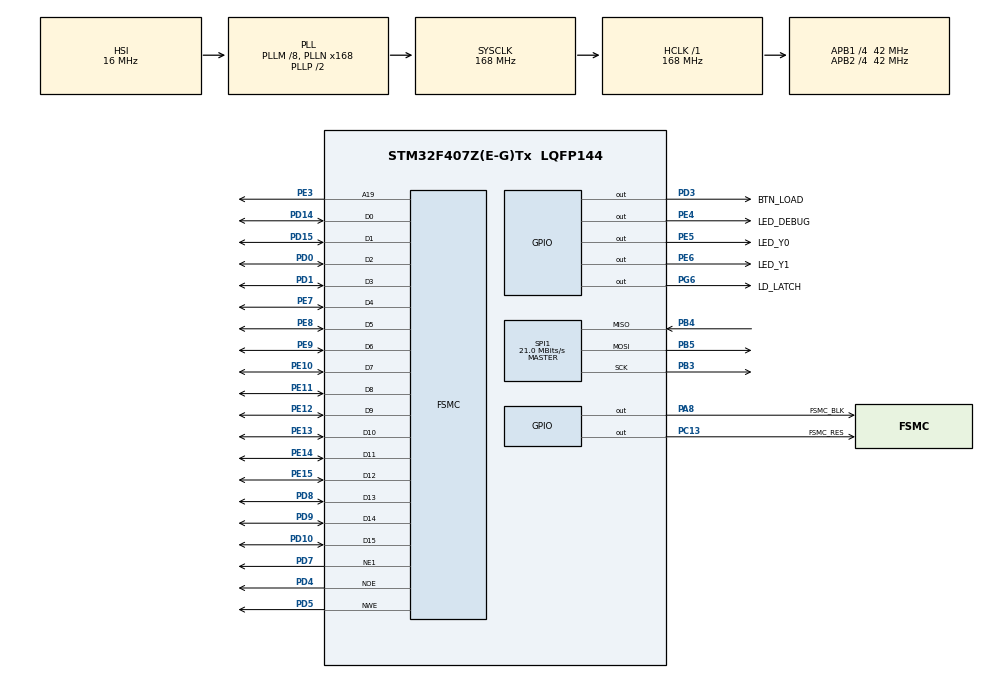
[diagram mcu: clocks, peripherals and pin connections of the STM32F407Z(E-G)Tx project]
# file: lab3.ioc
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FSMC.AddressSetupTime1=0xf
FSMC.BusTurnAroundDuration1=0
FSMC.DataSetupTime1=60
FSMC.ExtendedAddressSetupTime1=8
FSMC.ExtendedBusTurnAroundDuration1=0
FSMC.ExtendedDataSetupTime1=9
FSMC.ExtendedMode1=FSMC_EXTENDED_MODE_ENABLE
Mcu.Family=STM32F4
Mcu.Name=STM32F407Z(E-G)Tx
Mcu.Package=LQFP144
NVIC.PriorityGroup=NVIC_PRIORITYGROUP_4
NVIC.TIM2_IRQn=true\:0\:0\:false\:false\:true\:true\:true\:true
PA13.Mode=Serial_Wire
PA13.Signal=SYS_JTMS-SWDIO
PA14.Mode=Serial_Wire
PA14.Signal=SYS_JTCK-SWCLK
PA8.GPIO_Label=FSMC_BLK
PA8.Signal=GPIO_Output
PB3.Mode=Full_Duplex_Master
PB3.Signal=SPI1_SCK
PB4.Mode=Full_Duplex_Master
PB4.Signal=SPI1_MISO
PB5.Mode=Full_Duplex_Master
PB5.Signal=SPI1_MOSI
PC13-ANTI_TAMP.GPIO_Label=FSMC_RES
PC13-ANTI_TAMP.Signal=GPIO_Output
PD0.Signal=FSMC_D2_DA2
PD1.Signal=FSMC_D3_DA3
PD10.Signal=FSMC_D15_DA15
PD14.Signal=FSMC_D0_DA0
PD15.Signal=FSMC_D1_DA1
PD3.GPIO_Label=BTN_LOAD
PD3.Signal=GPIO_Output
PD4.Signal=FSMC_NOE
PD5.Signal=FSMC_NWE
PD7.Mode=NorPsramChipSelect1_1
PD7.Signal=FSMC_NE1
PD8.Signal=FSMC_D13_DA13
PD9.Signal=FSMC_D14_DA14
PE10.Signal=FSMC_D7_DA7
PE11.Signal=FSMC_D8_DA8
PE12.Signal=FSMC_D9_DA9
PE13.Signal=FSMC_D10_DA10
PE14.Signal=FSMC_D11_DA11
PE15.Signal=FSMC_D12_DA12
PE3.Signal=FSMC_A19
PE4.GPIO_Label=LED_DEBUG
PE4.Signal=GPIO_Output
PE5.GPIO_Label=LED_Y0
PE5.Signal=GPIO_Output
PE6.GPIO_Label=LED_Y1
PE6.Signal=GPIO_Output
PE7.Signal=FSMC_D4_DA4
PE8.Signal=FSMC_D5_DA5
PE9.Signal=FSMC_D6_DA6
PG6.GPIO_Label=LD_LATCH
PG6.Signal=GPIO_Output
PH0-OSC_IN.Mode=HSE-External-Oscillator
PH0-OSC_IN.Signal=RCC_OSC_IN
PH1-OSC_OUT.Mode=HSE-External-Oscillator
PH1-OSC_OUT.Signal=RCC_OSC_OUT
ProjectManager.HeapSize=0x200
ProjectManager.StackSize=0x400
ProjectManager.TargetToolchain=STM32CubeIDE
RCC.48MHZClocksFreq_Value=84000000
RCC.AHBFreq_Value=168000000
RCC.APB1CLKDivider=RCC_HCLK_DIV4
RCC.APB1Freq_Value=42000000
RCC.APB1TimFreq_Value=84000000
RCC.APB2CLKDivider=RCC_HCLK_DIV4
RCC.APB2Freq_Value=42000000
RCC.APB2TimFreq_Value=84000000
RCC.CortexFreq_Value=168000000
RCC.HCLKFreq_Value=168000000
RCC.HSE_VALUE=25000000
RCC.HSI_VALUE=16000000
RCC.LSE_VALUE=32768
RCC.PLLM=8
RCC.PLLN=168
RCC.SYSCLKFreq_VALUE=168000000
RCC.SYSCLKSource=RCC_SYSCLKSOURCE_PLLCLK
RCC.VCOOutputFreq_Value=336000000
SH.FSMC_A19.0=FSMC_A19,A19_1
SH.FSMC_D0_DA0.0=FSMC_D0,16b-d1
SH.FSMC_D10_DA10.0=FSMC_D10,16b-d1
SH.FSMC_D11_DA11.0=FSMC_D11,16b-d1
SH.FSMC_D12_DA12.0=FSMC_D12,16b-d1
SH.FSMC_D13_DA13.0=FSMC_D13,16b-d1
SH.FSMC_D14_DA14.0=FSMC_D14,16b-d1
SH.FSMC_D15_DA15.0=FSMC_D15,16b-d1
SH.FSMC_D1_DA1.0=FSMC_D1,16b-d1
SH.FSMC_D2_DA2.0=FSMC_D2,16b-d1
SH.FSMC_D3_DA3.0=FSMC_D3,16b-d1
SH.FSMC_D4_DA4.0=FSMC_D4,16b-d1
SH.FSMC_D5_DA5.0=FSMC_D5,16b-d1
SH.FSMC_D6_DA6.0=FSMC_D6,16b-d1
SH.FSMC_D7_DA7.0=FSMC_D7,16b-d1
SH.FSMC_D8_DA8.0=FSMC_D8,16b-d1
SH.FSMC_D9_DA9.0=FSMC_D9,16b-d1
SH.FSMC_NOE.0=FSMC_NOE,Lcd1
SH.FSMC_NWE.0=FSMC_NWE,Lcd1
SPI1.CalculateBaudRate=21.0 MBits/s
SPI1.Direction=SPI_DIRECTION_2LINES
SPI1.Mode=SPI_MODE_MASTER
SPI1.VirtualType=VM_MASTER
TIM2.Period=10-1
TIM2.Prescaler=16800-1
VP_TIM2_VS_ClockSourceINT.Mode=Internal
board=custom

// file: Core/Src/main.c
/* USER CODE BEGIN Header */
/**
  ******************************************************************************
  * @file           : main.c
  * @brief          : Main program body
  ******************************************************************************
  * @attention
  *
  * Copyright (c) 2024 STMicroelectronics.
  * All rights reserved.
  *
  * This software is licensed under terms that can be found in the LICENSE file
  * in the root directory of this software component.
  * If no LICENSE file comes with this software, it is provided AS-IS.
  *
  ******************************************************************************
  */
/* USER CODE END Header */
#include "main.h"
#include "spi.h"
#include "tim.h"
#include "gpio.h"
#include "fsmc.h"

/* USER CODE BEGIN Includes */

#include "softwareTimer.h"
#include "led7Seg.h"
#include "button.h"
#include "LCD.h"
#include "picture.h"

/* USER CODE END Includes */

/* USER CODE BEGIN PV */
int numberOfPushButton;
/* USER CODE END PV */

void SystemClock_Config(void);

/* USER CODE BEGIN 0 */

void debugProgram(void);
void systemInit(void);
int IsButtonUp();
int IsButtonDown();
void TestButtonMatrix();
void TestLcd(void);

/* USER CODE END 0 */

int main(void)
{

  /* MCU Configuration--------------------------------------------------------*/

  /* Reset of all peripherals, Initializes the Flash interface and the Systick. */
  HAL_Init();

  /* Configure the system clock */
  SystemClock_Config();

  /* Initialize all configured peripherals */
  MX_GPIO_Init();
  MX_TIM2_Init();
  MX_FSMC_Init();
  MX_SPI1_Init();
  /* USER CODE BEGIN 2 */

  systemInit();

  lcd_clear(WHITE);
  TestLcd();

  /* USER CODE END 2 */

  /* Infinite loop */
  /* USER CODE BEGIN WHILE */
  while (1)
  {
	  if(getFlagTimer2())
	  {
		  setTimer2(50);

		  button_scan();

		  if(button_count[0] % 40 == 1)
		  {
			  debugProgram();
		  }

		  TestButtonMatrix();

	  }

    /* USER CODE END WHILE */

  }
}

void SystemClock_Config(void)
{
  RCC_OscInitTypeDef RCC_OscInitStruct = {0};
  RCC_ClkInitTypeDef RCC_ClkInitStruct = {0};

  /** Configure the main internal regulator output voltage
  */
  __HAL_RCC_PWR_CLK_ENABLE();
  __HAL_PWR_VOLTAGESCALING_CONFIG(PWR_REGULATOR_VOLTAGE_SCALE1);

  /** Initializes the RCC Oscillators according to the specified parameters
  * in the RCC_OscInitTypeDef structure.
  */
  RCC_OscInitStruct.OscillatorType = RCC_OSCILLATORTYPE_HSI;
  RCC_OscInitStruct.HSIState = RCC_HSI_ON;
  RCC_OscInitStruct.HSICalibrationValue = RCC_HSICALIBRATION_DEFAULT;
  RCC_OscInitStruct.PLL.PLLState = RCC_PLL_ON;
  RCC_OscInitStruct.PLL.PLLSource = RCC_PLLSOURCE_HSI;
  RCC_OscInitStruct.PLL.PLLM = 8;
  RCC_OscInitStruct.PLL.PLLN = 168;
  RCC_OscInitStruct.PLL.PLLP = RCC_PLLP_DIV2;
  RCC_OscInitStruct.PLL.PLLQ = 4;
  if (HAL_RCC_OscConfig(&RCC_OscInitStruct) != HAL_OK)
  {
    Error_Handler();
  }

  /** Initializes the CPU, AHB and APB buses clocks
  */
  RCC_ClkInitStruct.ClockType = RCC_CLOCKTYPE_HCLK|RCC_CLOCKTYPE_SYSCLK
                              |RCC_CLOCKTYPE_PCLK1|RCC_CLOCKTYPE_PCLK2;
  RCC_ClkInitStruct.SYSCLKSource = RCC_SYSCLKSOURCE_PLLCLK;
  RCC_ClkInitStruct.AHBCLKDivider = RCC_SYSCLK_DIV1;
  RCC_ClkInitStruct.APB1CLKDivider = RCC_HCLK_DIV4;
  RCC_ClkInitStruct.APB2CLKDivider = RCC_HCLK_DIV4;

  if (HAL_RCC_ClockConfig(&RCC_ClkInitStruct, FLASH_LATENCY_5) != HAL_OK)
  {
    Error_Handler();
  }
}

/* USER CODE BEGIN 4 */

void debugProgram()
{
	HAL_GPIO_TogglePin(LED_DEBUG_GPIO_Port, LED_DEBUG_Pin);
}
void systemInit()
{
	initializeTimer2();
	setTimer2(1000);

	intialize7Seg();
	initializeButton();
	initializeLCD();
}

// Button example 1: a button is pressed 1 time (50ms).
int IsButtonDown() {
	if (button_count[0] == 1) {
		return 1;
	}
	return 0;
}

// Button example 2:
// Check if a button is pressed 1 time (50ms),
// or if it is held down for more than 1 second, in which case it returns 1 every 100ms.
int IsButtonUp() {
	if (button_count[1] == 1 || (button_count[1] > 20 && button_count[1] % 2 == 0)) {
		return 1;
	}
	return 0;
}

void TestButtonMatrix() {
	for (int i = 0; i < 16; i++) {
		if (button_count[i] != 0) {
			lcd_show_int_num(140, 105, i, 2, BRED, WHITE, 32);
		}
	}
}
void TestLcd() {
	lcd_fill(0, 0, 240, 20, BLUE);
	lcd_show_string_center(0, 2, "Hello World !!!", RED, BLUE, 16, 1);
	lcd_show_string(20, 30, "Test LCD Screen", WHITE, RED, 24, 0);
	lcd_draw_rectangle(20, 80, 100, 160, GREEN);
	lcd_draw_circle(160, 120, BRED, 40, 0);
	lcd_show_picture(80, 200, 90, 90, gImageLogo);
}

/* USER CODE END 4 */

void Error_Handler(void)
{
  __disable_irq();
  while (1)
  {
  }
}
